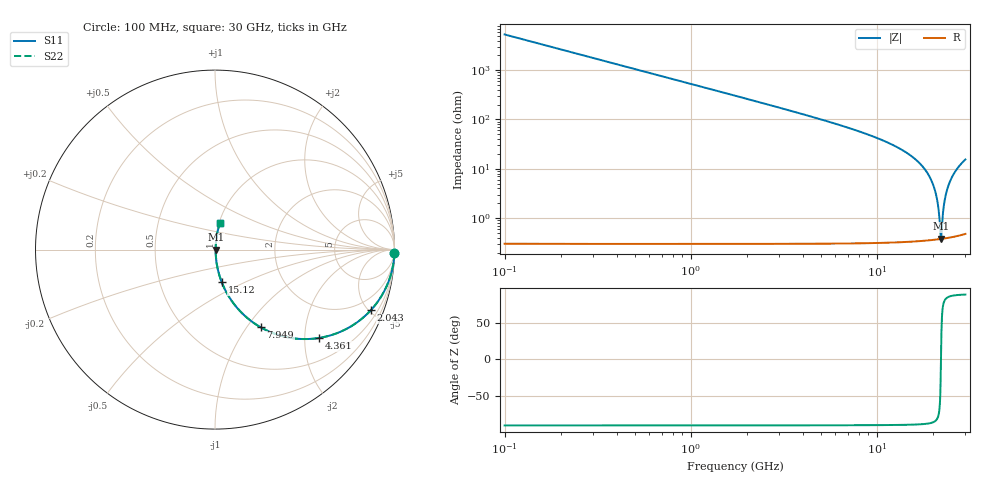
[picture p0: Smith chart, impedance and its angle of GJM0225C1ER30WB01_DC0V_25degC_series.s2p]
!Murata Part Number: GJM0225C1ER30WB01
!These Parameters are Measured in Series Mode Connection
!  o--ll--o
!Port1  Port2
!  o------o
!Operation Temp=25[degC], DC Bias Voltage=0[V]
!Freq. Start=100[MHz] Stop=30[GHz], 401[Steps]
!Data Generated on Feb 1, 2023
# Hz S RI R 50
!Freq.(Hz) S11(Real) S11(Imag) S21(Real) S21(Imag) S12(Real) S12(Imag) S22(Real) S22(Imag)
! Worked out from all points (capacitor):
!   401 points, 100 MHz to 30 GHz, reference 50 ohm
!   read as one part in series: C = 300 fF near 249.5 MHz
!   lowest |Z| = 380 mohm at 22.15 GHz (marker M1)
!   series resonance near 22.17 GHz, so ESL is about 170 pH
!   S11 on the Smith chart (normalised r, x): 100 MHz: open; 2.043 GHz: 1.01, -5.15; 4.361 GHz: 1.01, -2.34; 7.949 GHz: 1.01, -1.17; 15.12 GHz: 1.01, -0.38; 30 GHz: 1.01, +0.31
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1e8  0.9996 -0.0188  0.000356 0.0188  0.000356 0.0188  0.9996 -0.0188
3.99e8  0.9944 -0.0748  0.00564 0.0748  0.00564 0.0748  0.9944 -0.0748
6.98e8  0.9829 -0.1294  0.0171 0.1294  0.0171 0.1294  0.9829 -0.1294
1.22125e9  0.9493 -0.2191  0.0507 0.2191  0.0507 0.2191  0.9493 -0.2191
2.0435e9  0.8686 -0.3372  0.1314 0.3372  0.1314 0.3372  0.8686 -0.3372
4.36075e9  0.5779 -0.4926  0.4221 0.4926  0.4221 0.4926  0.5779 -0.4926
5.10825e9  0.4923 -0.4984  0.5077 0.4984  0.5077 0.4984  0.4923 -0.4984
7.94875e9  0.255 -0.4332  0.745 0.4332  0.745 0.4332  0.255 -0.4332
1.01165e10  0.1501 -0.3534  0.8499 0.3534  0.8499 0.3534  0.1501 -0.3534
1.505e10  0.0385 -0.1841  0.9615 0.1841  0.9615 0.1841  0.0385 -0.1841
1.512475e10  0.0376 -0.1818  0.9624 0.1818  0.9624 0.1818  0.0376 -0.1818
1.811475e10  0.013 -0.0973  0.987 0.0973  0.987 0.0973  0.013 -0.0973
2.005825e10  0.00596 -0.0485  0.994 0.0485  0.994 0.0485  0.00596 -0.0485
2.1329e10  0.00405 -0.0188  0.996 0.0188  0.996 0.0188  0.00405 -0.0188
2.215125e10  0.00376 -0.000441  0.9962 0.000441  0.9962 0.000441  0.00376 -0.000441
2.230075e10  0.00378 0.00283  0.9962 -0.00283  0.9962 -0.00283  0.00378 0.00283
2.2824e10  0.00402 0.0141  0.996 -0.0141  0.996 -0.0141  0.00402 0.0141
2.32725e10  0.00442 0.0236  0.9956 -0.0236  0.9956 -0.0236  0.00442 0.0236
2.402e10  0.00548 0.0391  0.9945 -0.0391  0.9945 -0.0391  0.00548 0.0391
2.50665e10  0.00769 0.0601  0.9923 -0.0601  0.9923 -0.0601  0.00769 0.0601
2.71595e10  0.0144 0.0997  0.9856 -0.0997  0.9856 -0.0997  0.0144 0.0997
3e10  0.0277 0.1492  0.9723 -0.1492  0.9723 -0.1492  0.0277 0.1492
